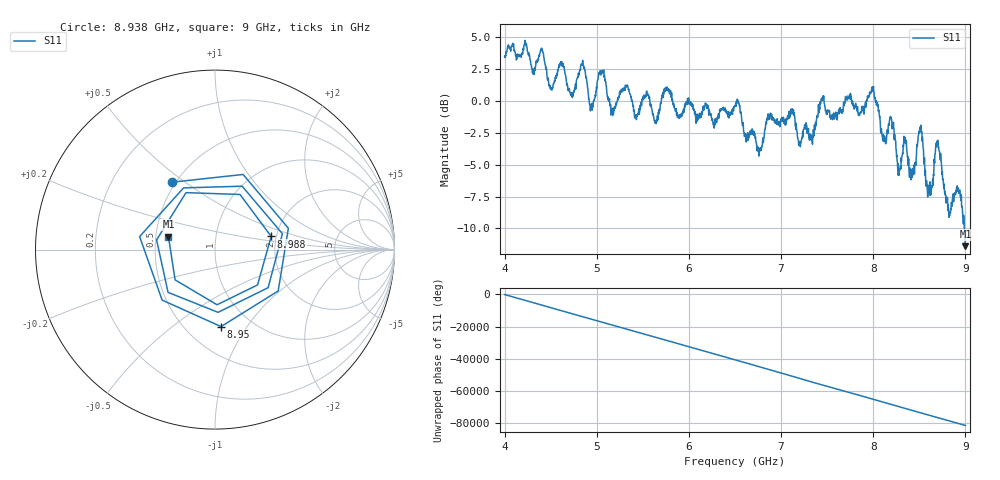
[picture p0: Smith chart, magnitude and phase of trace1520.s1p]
! Created with skrf 1.8.0 (http://scikit-rf.org).
# Hz S RI R 50.0
!freq ReS11 ImS11
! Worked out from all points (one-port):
!   1601 points, 4 GHz to 9 GHz, reference 50 ohm
!   lowest |S11| = -11.4 dB at 9 GHz (marker M1), VSWR 1.74, Z = 29.1 + j4.58 ohm
!   |S11| at or under -10 dB: 8.989147 GHz to end of sweep
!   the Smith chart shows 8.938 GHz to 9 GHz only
!   S11 on the Smith chart (normalised r, x): 8.938 GHz: 0.48, +0.45; 8.95 GHz: 0.73, -0.77; 8.988 GHz: 1.88, +0.31; 9 GHz: 0.58, +0.09
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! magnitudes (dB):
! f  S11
! 4 GHz  3.5
! 4.403 GHz  4.1
! 4.503 GHz  1.0
! 4.625 GHz  2.9
! 4.731 GHz  0.6
! 4.85 GHz  2.9
! 4.938 GHz  -0.3
! 5.05 GHz  2.3
! 5.166 GHz  -0.6
! 5.25 GHz  0.5
! 5.875 GHz  -1.3
! 6.5 GHz  -0.4
! 6.762 GHz  -4.0
! 7.125 GHz  -0.9
! 7.206 GHz  -3.2
! 7.75 GHz  0.3
! 7.994 GHz  1.1
! 8.2 GHz  -1.5
! 8.275 GHz  -5.3
! 8.375 GHz  -4.4
! 8.512 GHz  -2.1
! 8.6 GHz  -6.7
! 8.697 GHz  -3.4
! 8.812 GHz  -8.1
! 8.938 GHz  -7.0
! 8.95 GHz  -7.3
! 8.988 GHz  -9.9
! 9 GHz  -11.4
